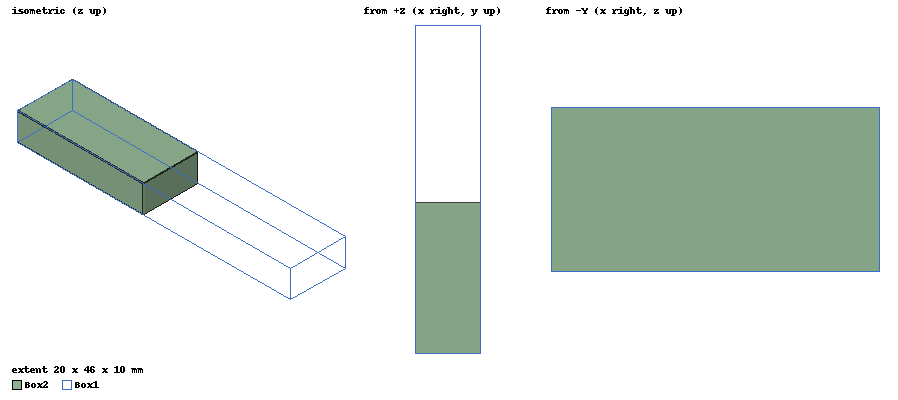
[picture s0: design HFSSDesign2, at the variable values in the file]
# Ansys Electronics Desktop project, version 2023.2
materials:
  vacuum: permittivity=1
  Material1: permittivity=5

design HFSSDesign1 (HFSS, HFSS Terminal Network, model units mm)
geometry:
  Box1 [vacuum] = box(corner=(0mm, 0mm, 0mm), size=(20mm, 100mm, 10mm))
  Rectangle1 [non-model] = rectangle(corner=(10mm, 0mm, 0mm), y_size=100mm, z_size=10mm)
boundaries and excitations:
  PerfH1: Perfect H Faces=Box1.face(+x, -x)
  PerfE1: Perfect E Faces=Box1.face(-z, +z)
  1: Wave Port Faces=Box1.face(-y) WavePortType=Modal NumModes=1 Modes{Mode1{CharImp=Zpi}}
  2: Wave Port Faces=Box1.face(+y) WavePortType=Modal NumModes=1 Modes{Mode1{CharImp=Zpi}}
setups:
  Setup1: HfssDriven Frequency=11GHz MaxDeltaS=0.02 MaximumPasses=3 MinimumPasses=1 MinimumConvergedPasses=1 PercentRefinement=30 BasisOrder=1 PortAccuracy=2 DrivenSolverType="Direct Solver"
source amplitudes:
  1:1: 1V 0deg
  2:1: 0V 0deg
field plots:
  Vector_E1: E Field over a plane on Setup1 : LastAdaptive at Freq=11GHz Phase=0deg
  Vector_H1: H Field over a plane on Setup1 : LastAdaptive at Freq=11GHz Phase=0deg

design HFSSDesign2 (HFSS, HFSS Terminal Network, model units mm)
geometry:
  Box1 [vacuum] = box(corner=(0mm, 0mm, 0mm), size=(20mm, 100mm, 10mm))
  Box2 [Material1] = box(corner=(0mm, 0mm, 0mm), size=(20mm, 46mm, 10mm))
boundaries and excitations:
  PerfH1: Perfect H Faces=Box1.face(+x, -x)
  PerfE1: Perfect E Faces=Box1.face(-z, +z)
  1: Wave Port Faces=Box1.face(-y) WavePortType=Modal NumModes=1 Modes{Mode1{CharImp=Zpi}}
  2: Wave Port Faces=Box1.face(+y) WavePortType=Modal NumModes=1 Modes{Mode1{CharImp=Zpi}}
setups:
  Setup1: HfssDriven Frequency=4GHz MaxDeltaS=0.0004 MaximumPasses=4 MinimumPasses=1 MinimumConvergedPasses=1 PercentRefinement=30 BasisOrder=1 PortAccuracy=2 DrivenSolverType="Direct Solver"
    sweep Sweep: 1GHz to 5GHz, 99 points; Type=Interpolating InterpTolerance=0.5 InterpMaxSolns=250 PassivityErrorTolerance=0.0001
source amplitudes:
  1:1: 1V 0deg
  2:1: 0V 0deg
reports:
  Terminal S Parameter Plot 1: dB(St(1,1)) vs Freq on Setup1 : Sweep
